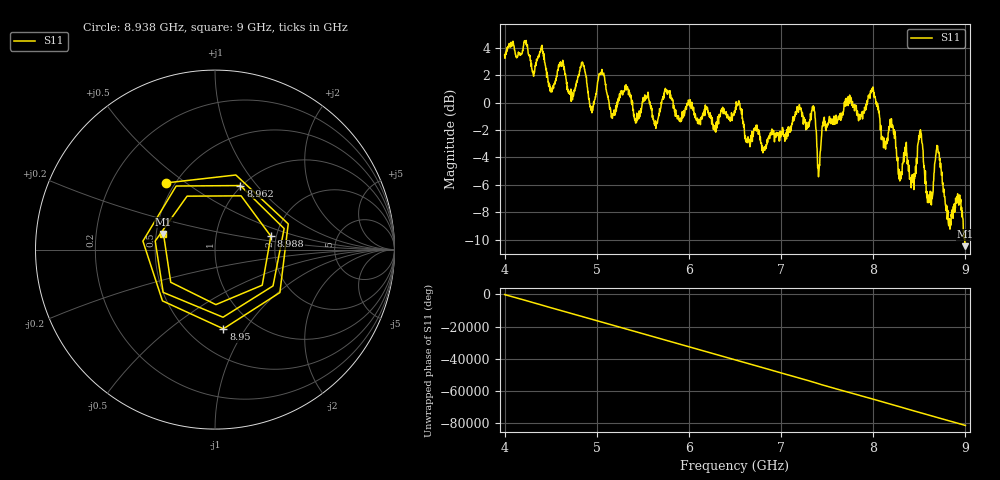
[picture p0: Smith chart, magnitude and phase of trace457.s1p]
! Created with skrf 1.8.0 (http://scikit-rf.org).
# Hz S RI R 50.0
!freq ReS11 ImS11
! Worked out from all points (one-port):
!   1601 points, 4 GHz to 9 GHz, reference 50 ohm
!   lowest |S11| = -10.5 dB at 9 GHz (marker M1), VSWR 1.86, Z = 27.3 + j5.22 ohm
!   |S11| at or under -10 dB: 8.992705 GHz to end of sweep
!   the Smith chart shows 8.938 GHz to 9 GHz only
!   S11 on the Smith chart (normalised r, x): 8.938 GHz: 0.45, +0.42; 8.95 GHz: 0.73, -0.80; 8.962 GHz: 0.99, +0.83; 8.988 GHz: 1.87, +0.31; 9 GHz: 0.55, +0.10
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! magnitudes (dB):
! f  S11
! 4 GHz  3.5
! 4.625 GHz  2.9
! 4.725 GHz  0.4
! 4.853 GHz  2.7
! 4.944 GHz  -0.5
! 5.05 GHz  2.2
! 5.162 GHz  -0.9
! 5.25 GHz  0.6
! 5.875 GHz  -1.2
! 6.5 GHz  -0.6
! 6.816 GHz  -3.3
! 7.125 GHz  -1.3
! 7.347 GHz  -0.5
! 7.412 GHz  -4.9
! 7.75 GHz  0.2
! 7.994 GHz  1.1
! 8.112 GHz  -3.3
! 8.375 GHz  -4.2
! 8.438 GHz  -5.6
! 8.509 GHz  -2.5
! 8.606 GHz  -6.7
! 8.697 GHz  -3.1
! 8.819 GHz  -9.0
! 8.938 GHz  -6.7
! 8.95 GHz  -7.1
! 8.962 GHz  -8.3
! 8.988 GHz  -9.9
! 9 GHz  -10.5
